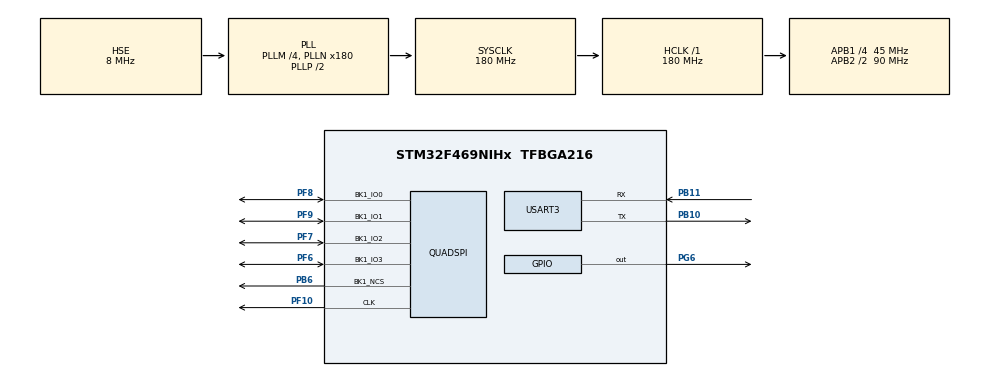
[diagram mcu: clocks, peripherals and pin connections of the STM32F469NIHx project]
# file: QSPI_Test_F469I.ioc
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Mcu.Family=STM32F4
RCC.PLLSourceVirtual=RCC_PLLSOURCE_HSE
QUADSPI.ChipSelectHighTime=QSPI_CS_HIGH_TIME_6_CYCLE
NVIC.QUADSPI_IRQn=true\:0\:0\:false\:false\:true\:true\:true
RCC.CortexFreq_Value=180000000
PG6.Signal=GPIO_Output
RCC.PLLDSIIDF=DSI_PLL_IN_DIV2
QUADSPI.ClockPrescaler=1
PB10.Mode=Asynchronous
RCC.APB1CLKDivider=RCC_HCLK_DIV4
PB11.Signal=USART3_RX
RCC.SYSCLKSource=RCC_SYSCLKSOURCE_PLLCLK
ProjectManager.StackSize=0x400
RCC.PLLSAIRDiv=RCC_PLLSAIDIVR_4
PF7.Mode=Single Bank 1
PB11.Mode=Asynchronous
PF6.Signal=QUADSPI_BK1_IO3
ProjectManager.TargetToolchain=STM32CubeIDE
PF7.Signal=QUADSPI_BK1_IO2
PH0/OSC_IN.Mode=HSE-External-Oscillator
RCC.HCLKFreq_Value=180000000
RCC.APB2TimFreq_Value=180000000
PB6.Signal=QUADSPI_BK1_NCS
PB6.Mode=Single Bank 1
PH1/OSC_OUT.Signal=RCC_OSC_OUT
RCC.USBFreq_Value=48000000
QUADSPI.FlashSize=24-1
RCC.AHBFreq_Value=180000000
PB10.Signal=USART3_TX
RCC.USBCLockSelection=RCC_CLK48CLKSOURCE_PLLSAIP
RCC.HSE_VALUE=8000000
board=STM32F469I-DISCO
RCC.VCOOutputFreq_Value=360000000
PH0/OSC_IN.Signal=RCC_OSC_IN
RCC.APB2Freq_Value=90000000
PF9.Mode=Single Bank 1
RCC.PLLDSINDIV=125
PF10.Signal=QUADSPI_CLK
PF8.Mode=Single Bank 1
QUADSPI.FifoThreshold=4
PH1/OSC_OUT.Mode=HSE-External-Oscillator
QUADSPI.SampleShifting=QSPI_SAMPLE_SHIFTING_HALFCYCLE
Mcu.Name=STM32F469NIHx
RCC.SYSCLKFreq_VALUE=180000000
Mcu.Package=TFBGA216
USART3.VirtualMode=VM_ASYNC
ProjectManager.HeapSize=0x200
PF8.Signal=QUADSPI_BK1_IO0
PF6.Mode=Single Bank 1
PF9.Signal=QUADSPI_BK1_IO1
RCC.PLLSAIN=144
RCC.PLLSAIP=RCC_PLLSAIP_DIV6
RCC.PLLQ=6
NVIC.PriorityGroup=NVIC_PRIORITYGROUP_4
RCC.PLLR=6
RCC.APB2CLKDivider=RCC_HCLK_DIV2
RCC.PLLSAIQ=2
RCC.PLLM=4
RCC.PLLN=180
RCC.APB1TimFreq_Value=90000000
PF10.Mode=Single Bank 1
RCC.APB1Freq_Value=45000000

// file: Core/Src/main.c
/* USER CODE BEGIN Header */
/**
 ******************************************************************************
 * @file           : main.c
 * @brief          : Main program body
 ******************************************************************************
 * @attention
 *
 * <h2><center>&copy; Copyright (c) 2021 STMicroelectronics.
 * All rights reserved.</center></h2>
 *
 * This software component is licensed by ST under Ultimate Liberty license
 * SLA0044, the "License"; You may not use this file except in compliance with
 * the License. You may obtain a copy of the License at:
 *                             www.st.com/SLA0044
 *
 ******************************************************************************
 */
/* USER CODE END Header */
#include "main.h"
#include "quadspi.h"
#include "usart.h"
#include "gpio.h"

/* USER CODE BEGIN Includes */
#include <string.h>
#include <stdio.h>
/* USER CODE END Includes */

/* USER CODE BEGIN PD */
#define USE_IO_PUTCHAR 0
#if USE_IO_PUTCHAR
#ifdef __GNUC__//retarget printf to uart3
#define PUTCHAR_PROTOTYPE int __io_putchar(int ch)
#else
#define PUTCHAR_PROTOTYPE int fputc(int ch, FILE *f)
#endif
#endif
/* USER CODE END PD */

/* USER CODE BEGIN PV */
extern UART_HandleTypeDef huart3;
/* USER CODE END PV */

void SystemClock_Config(void);

int main(void) {

	/* MCU Configuration--------------------------------------------------------*/

	/* Reset of all peripherals, Initializes the Flash interface and the Systick. */
	HAL_Init();

	/* Configure the system clock */
	SystemClock_Config();

	/* Initialize all configured peripherals */
	MX_GPIO_Init();
	MX_QUADSPI_Init();
	MX_USART3_UART_Init();
	/* USER CODE BEGIN 2 */
	printf("Starting\n\n");
	/* USER CODE END 2 */

	/* Infinite loop */
	/* USER CODE BEGIN WHILE */
	HAL_GPIO_WritePin(GPIOG, GPIO_PIN_6, GPIO_PIN_RESET);
	CSP_QUADSPI_Init();

	CSP_QSPI_Erase_Chip();

	uint8_t send[256] = { 0 };
	uint8_t recv[256] = { 0 };
	sprintf((char*) send, "%s",
			"This is a test file to see if we can write to the QSPI NOR flash\n This is a new line in the same write\n\0");

	CSP_QSPI_Write(send, 0, sizeof(send));

	CSP_QSPI_Read(recv, 0, 256);
	printf("%s\n", (char*) recv);
	printf("End\n");

	while (1) {
		/* USER CODE END WHILE */

		/* USER CODE BEGIN 3 */
		HAL_GPIO_TogglePin(GPIOG, GPIO_PIN_6);
		HAL_Delay(500);
	}
	/* USER CODE END 3 */
}

void SystemClock_Config(void) {
	RCC_OscInitTypeDef RCC_OscInitStruct = { 0 };
	RCC_ClkInitTypeDef RCC_ClkInitStruct = { 0 };

	/** Configure the main internal regulator output voltage
	 */
	__HAL_RCC_PWR_CLK_ENABLE();
	__HAL_PWR_VOLTAGESCALING_CONFIG(PWR_REGULATOR_VOLTAGE_SCALE1);
	/** Initializes the RCC Oscillators according to the specified parameters
	 * in the RCC_OscInitTypeDef structure.
	 */
	RCC_OscInitStruct.OscillatorType = RCC_OSCILLATORTYPE_HSE;
	RCC_OscInitStruct.HSEState = RCC_HSE_ON;
	RCC_OscInitStruct.PLL.PLLState = RCC_PLL_ON;
	RCC_OscInitStruct.PLL.PLLSource = RCC_PLLSOURCE_HSE;
	RCC_OscInitStruct.PLL.PLLM = 4;
	RCC_OscInitStruct.PLL.PLLN = 180;
	RCC_OscInitStruct.PLL.PLLP = RCC_PLLP_DIV2;
	RCC_OscInitStruct.PLL.PLLQ = 6;
	RCC_OscInitStruct.PLL.PLLR = 6;
	if (HAL_RCC_OscConfig(&RCC_OscInitStruct) != HAL_OK) {
		Error_Handler();
	}
	/** Activate the Over-Drive mode
	 */
	if (HAL_PWREx_EnableOverDrive() != HAL_OK) {
		Error_Handler();
	}
	/** Initializes the CPU, AHB and APB buses clocks
	 */
	RCC_ClkInitStruct.ClockType = RCC_CLOCKTYPE_HCLK | RCC_CLOCKTYPE_SYSCLK
			| RCC_CLOCKTYPE_PCLK1 | RCC_CLOCKTYPE_PCLK2;
	RCC_ClkInitStruct.SYSCLKSource = RCC_SYSCLKSOURCE_PLLCLK;
	RCC_ClkInitStruct.AHBCLKDivider = RCC_SYSCLK_DIV1;
	RCC_ClkInitStruct.APB1CLKDivider = RCC_HCLK_DIV4;
	RCC_ClkInitStruct.APB2CLKDivider = RCC_HCLK_DIV2;

	if (HAL_RCC_ClockConfig(&RCC_ClkInitStruct, FLASH_LATENCY_5) != HAL_OK) {
		Error_Handler();
	}
}

/* USER CODE BEGIN 4 */
#if USE_IO_PUTCHAR
PUTCHAR_PROTOTYPE {	//retarget printf to uart3
//	HAL_UART_Transmit(&huart3, (uint8_t*) &ch, 1, 1000);
	HAL_UART_Transmit_DMA(&huart3, (uint8_t*) &ch, 1);
//	HAL_UART_Transmit_IT(&huart3, (uint8_t*)&ch, 1);
	return ch;
}
#else
int _write(int file, char *ptr, int len) {
	HAL_UART_Transmit(&huart3, (uint8_t*) ptr, len, 1000);
//	HAL_UART_Transmit_DMA(&huart3, (uint8_t*) ptr, len);
//	HAL_UART_Transmit_IT(&huart3, (uint8_t*)ptr, len);
	return len;
}
#endif
/* USER CODE END 4 */

void Error_Handler(void) {
	/* USER CODE BEGIN Error_Handler_Debug */
	/* User can add his own implementation to report the HAL error return state */
	__disable_irq();
	while (1) {
		HAL_GPIO_TogglePin(GPIOG, GPIO_PIN_6);
		HAL_Delay(100);
	}
	/* USER CODE END Error_Handler_Debug */
}

/************************ (C) COPYRIGHT STMicroelectronics *****END OF FILE****/
